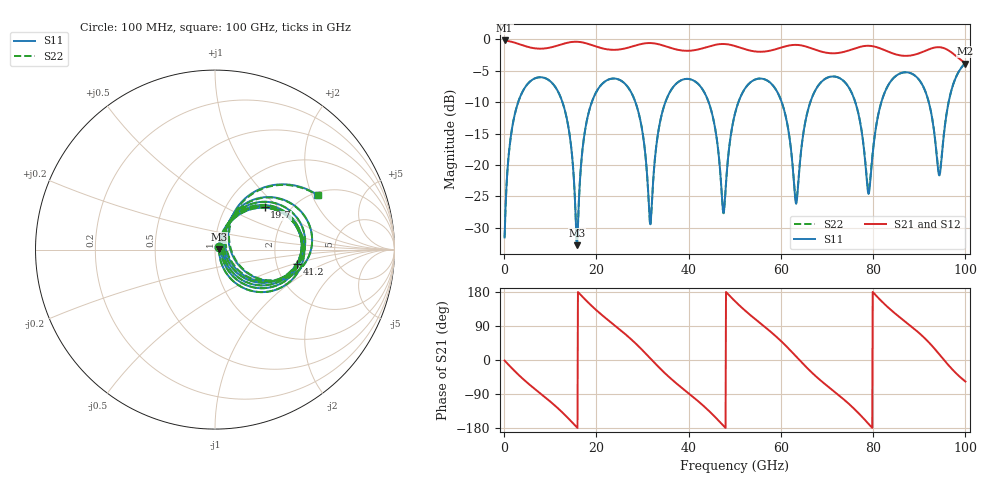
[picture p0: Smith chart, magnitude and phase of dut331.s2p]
! Touchstone file exported from HFSS 2026.1.0
!  File:  C:/ffzhzh/LocalFiles/Ansys_Project_Files/temp_train_TSV_RDL_331_1783704178_45164.aedt
!  Generated:  01:33:35 AM Jul 11, 2026
!  Design:  TSV_RDL
!  Project:  temp_train_TSV_RDL_331_1783704178_45164
! Variables:
!  h_bsmrdl = 2.17um
!  h_ox = 20um
!  h_rdl = 5um
!  h_sub = 60.78um
!  h_tmrdl = 2.79um
!  h_tsv = 60.78um
!  h_via = 3um
!  l_bsmrdl = 509.41um
!  l_sub = 3932.42um
!  l_tmrdl = 466.12um
!  m_sub = 200um
!  pitch = 44.42um
!  r_tsv = 5.62um
!  s_tmrdl = 10um
!  w_bsmrdl = 23.72um
!  w_sub = 500um
!  w_tmrdl = 22.85um
!  x_tsv_center1 = 477.545um
!  x_tsv_center2 = 1010.675um
!  x_tsv_center3 = 1499.645um
!  x_tsv_center4 = 2032.775um
!  x_tsv_center5 = 2521.745um
!  x_tsv_center6 = 3054.875um
# GHz S MA R 50.000000
! Terminal data exported
! Port[1] = TM_RDL1_1_T1
! Port[2] = TM_RDL5_1_T1
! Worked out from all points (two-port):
!   1000 points, 100 MHz to 100 GHz, reference 50 ohm
!   highest |S21| = -0.20 dB at 100 MHz (marker M1); lowest = -3.9 dB at 100 GHz (marker M2)
!   |S21| within 3 dB of the highest: start of sweep to 98.85 GHz
!   lowest |S11| = -32.8 dB at 15.8 GHz (marker M3), VSWR 1.05, Z = 52.3 + j0.183 ohm
!   |S11| at or under -10 dB: 12.63 GHz to 19.01 GHz (6.38 GHz wide, 40.3 % of centre); 28.45 GHz to 34.96 GHz (6.511 GHz wide, 20.5 % of centre); 44.33 GHz to 50.8 GHz (6.47 GHz wide, 13.6 % of centre) (the widest 3 of 7)
!   |S22| runs from -32.9 to -3.8 dB; largest |S21 - S12| = 6.9e-13
!   S11 on the Smith chart (normalised r, x): 100 MHz: 1.05, +0.03; 19.7 GHz: 1.50, +0.82; 41.2 GHz: 2.62, -0.53; 100 GHz: 2.08, +2.18
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0.1  0.02653 28.3  0.9769 -1.4  0.9769 -1.4  0.02653 28.3
! Gamma 0 0 0 0
! Port Impedance 50 0 50 0
2.5  0.2701 51.9  0.9332 -31.8  0.9332 -31.8  0.2701 51.9
7.8  0.4983 0.2  0.8403 -87.8  0.8403 -87.8  0.4983 0.2
13.1  0.2776 -52.1  0.9245 -144.0  0.9245 -144.0  0.2775 -52.1
15.8  0.02291 4.4  0.954 -178.0  0.954 -178.0  0.02262 4.6
16.8  0.1136 66.0  0.9451 169.2  0.9451 169.2  0.1135 66.2
19.7  0.3638 40.5  0.8801 134.6  0.8801 134.6  0.3638 40.6
27.7  0.368 -35.1  0.8735 52.8  0.8735 52.8  0.3679 -35.1
31.7  0.03376 3.9  0.9316 4.1  0.9316 4.1  0.03332 4.0
33.4  0.1825 61.3  0.9132 -17.4  0.9132 -17.4  0.1823 61.5
41.2  0.4663 -9.8  0.8168 -100.0  0.8168 -100.0  0.4662 -9.6
47.5  0.04197 -3.3  0.9158 -172.8  0.9158 -172.8  0.04163 -3.1
50.1  0.2605 55.7  0.881 154.6  0.881 154.6  0.2605 55.9
58.8  0.4037 -23.3  0.8304 63.8  0.8304 63.8  0.4038 -22.9
63.3  0.04914 7.3  0.901 9.2  0.901 9.2  0.05153 7.7
66.7  0.3404 49.7  0.8437 -33.1  0.8437 -33.1  0.3408 49.6
74.6  0.4202 -20.7  0.8109 -114.2  0.8109 -114.2  0.4208 -20.3
79  0.05886 9.4  0.8862 -168.4  0.8862 -168.4  0.0638 9.3
83.4  0.4387 41.5  0.7919 137.0  0.7919 137.0  0.439 41.0
90.4  0.4506 -18.7  0.7831 66.5  0.7831 66.5  0.4507 -18.6
94.3  0.08266 8.6  0.8637 15.7  0.8637 15.7  0.08676 9.0
100  0.6453 28.4  0.6406 -56.7  0.6406 -56.7  0.6462 27.9
